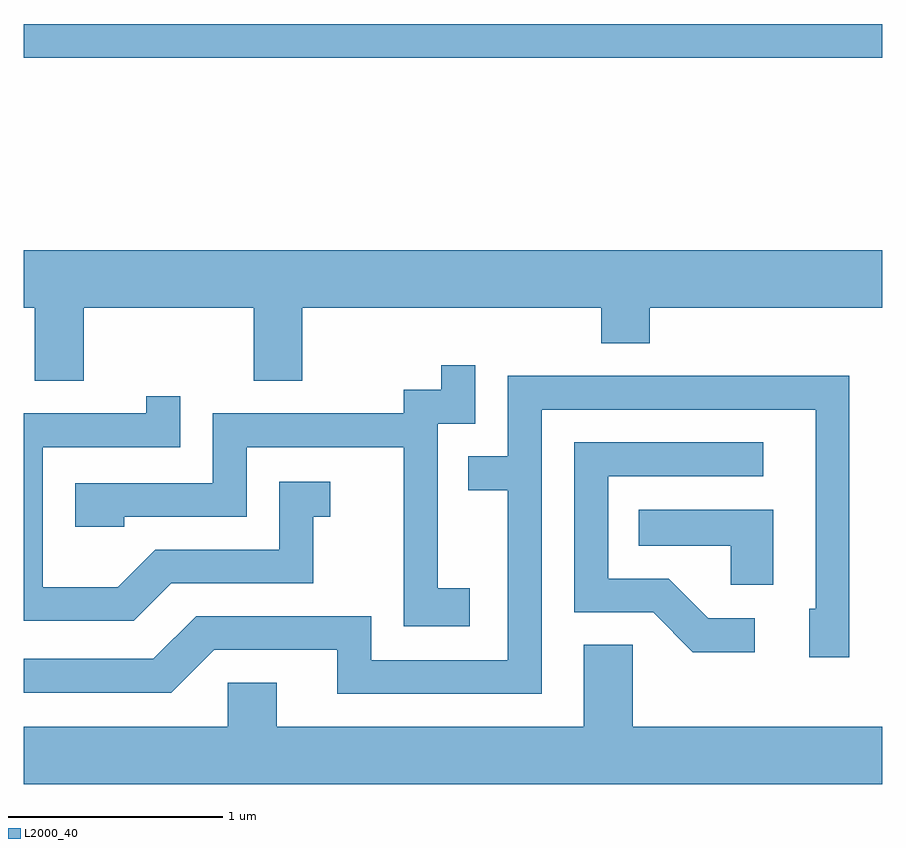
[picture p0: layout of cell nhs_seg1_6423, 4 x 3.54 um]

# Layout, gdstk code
import gdstk
lib = gdstk.Library(unit=1e-6, precision=1e-09)
def R(c, l, rs):  # rectangles x0, y0, x1, y1
    for r in rs: c.add(gdstk.rectangle(r[:2], r[2:], *l))
def P(c, l, *ps):  # polygons
    for p in ps: c.add(gdstk.Polygon(p, *l))
L2000_40 = (2000, 40)

nhs_seg1_6423 = lib.new_cell('nhs_seg1_6423')
R(nhs_seg1_6423, L2000_40, [(379.611,845.241,383.611,845.399)])
P(nhs_seg1_6423, L2000_40, [(379.889,844.076),(380.681,844.076),(380.681,843.736),(380.909,843.736),(380.909,844.076),(382.301,844.076),(382.301,843.911),(382.529,843.911),(382.529,844.076),(383.611,844.076),(383.611,844.344),(379.611,844.344),(379.611,844.076),(379.661,844.076),(379.661,843.736),(379.889,843.736)],
  [(381.689,842.769),(381.539,842.769),(381.539,843.536),(381.714,843.536),(381.714,843.808),(381.556,843.808),(381.556,843.694),(381.381,843.694),(381.381,843.584),(380.491,843.584),(380.491,843.259),(379.851,843.259),(379.851,843.056),(380.079,843.056),(380.079,843.101),(380.649,843.101),(380.649,843.426),(381.381,843.426),(381.381,842.591),(381.689,842.591)],
  [(382.024,843.601),(383.301,843.601),(383.301,842.674),(383.271,842.674),(383.271,842.446),(383.459,842.446),(383.459,843.759),(381.866,843.759),(381.866,843.384),(381.683,843.384),(381.683,843.226),(381.866,843.226),(381.866,842.434),(381.229,842.434),(381.229,842.639),(380.414,842.639),(380.214,842.439),(379.611,842.439),(379.611,842.281),(380.297,842.281),(380.497,842.481),(381.071,842.481),(381.071,842.276),(382.024,842.276)],
  [(380.297,842.791),(380.959,842.791),(380.959,843.101),(381.038,843.101),(381.038,843.264),(380.801,843.264),(380.801,842.949),(380.224,842.949),(380.049,842.774),(379.699,842.774),(379.699,843.426),(380.339,843.426),(380.339,843.663),(380.181,843.663),(380.181,843.584),(379.611,843.584),(379.611,842.616),(380.122,842.616)],
  [(383.018,842.629),(382.802,842.629),(382.617,842.814),(382.334,842.814),(382.334,843.291),(383.058,843.291),(383.058,843.449),(382.176,843.449),(382.176,842.656),(382.544,842.656),(382.729,842.471),(383.018,842.471)],
  [(383.104,843.134),(382.478,843.134),(382.478,842.966),(382.906,842.966),(382.906,842.786),(383.104,842.786)],
  [(383.611,842.124),(382.449,842.124),(382.449,842.504),(382.221,842.504),(382.221,842.124),(380.789,842.124),(380.789,842.329),(380.561,842.329),(380.561,842.124),(379.611,842.124),(379.611,841.856),(383.611,841.856)])

lib.write_gds('nhs_seg1_6423.gds')
